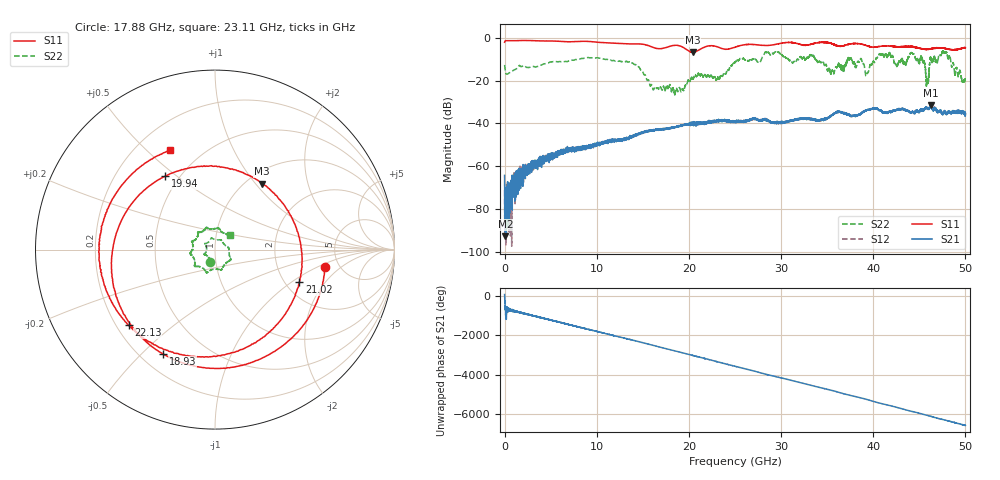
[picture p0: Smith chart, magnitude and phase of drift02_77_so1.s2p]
!Created with skrf (http://scikit-rf.org).
# Hz S RI R 50.0
!freq ReS11 ImS11 ReS21 ImS21 ReS12 ImS12 ReS22 ImS22
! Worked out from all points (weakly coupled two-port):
!   10001 points, 300 kHz to 50 GHz, reference 50 ohm
!   highest |S21| = -31.43 dB at 46.22 GHz (marker M1); lowest = -92.5 dB at 95.3 MHz (marker M2)
!   lowest |S11| = -6.9 dB at 20.44 GHz (marker M3), VSWR 2.64, Z = 58.5 + j53.9 ohm
!   |S11| at or under -10 dB: nowhere
!   |S22| runs from -26.7 to -6.1 dB; largest |S21 - S12| = 0.0031
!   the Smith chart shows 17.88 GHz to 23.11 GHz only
!   S11 on the Smith chart (normalised r, x): 17.88 GHz: 3.85, -1.24; 18.93 GHz: 0.29, -0.58; 19.94 GHz: 0.42, +0.45; 21.02 GHz: 2.38, -1.15; 22.13 GHz: 0.25, -0.35; 23.11 GHz: 0.34, +0.59
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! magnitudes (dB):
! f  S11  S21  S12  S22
! 300 kHz  -2.1  -64.1  -71.3  -12.7
! 95.3 MHz  -1.5  -92.5  -73.9  -16.2
! 3.065 GHz  -1.4  -61.2  -58.3  -13.5
! 8.335 GHz  -1.7  -52.4  -51.2  -9.7
! 13.7 GHz  -2.9  -46.0  -46.1  -11.7
! 16.67 GHz  -5.2  -42.7  -42.8  -23.7
! 17.88 GHz  -4.1  -42.2  -42.2  -22.5
! 18.93 GHz  -3.7  -41.3  -41.2  -23.5
! 19.94 GHz  -6.1  -40.5  -40.3  -19.7
! 20.44 GHz  -6.9  -40.8  -39.5  -19.2
! 21.02 GHz  -6.0  -39.9  -40.0  -16.7
! 22.13 GHz  -3.9  -39.7  -39.4  -17.8
! 23.11 GHz  -4.3  -38.5  -38.7  -18.7
! 25 GHz  -4.5  -39.3  -39.2  -11.6
! 33.34 GHz  -3.0  -37.7  -38.0  -8.3
! 39.33 GHz  -3.8  -33.8  -33.7  -16.7
! 41.67 GHz  -3.9  -34.7  -34.7  -7.7
! 44.27 GHz  -4.3  -34.3  -34.6  -7.4
! 45.85 GHz  -5.4  -33.2  -32.7  -19.4
! 46.22 GHz  -5.1  -31.4  -31.8  -9.7
! 47.75 GHz  -5.0  -33.9  -34.1  -6.9
! 50 GHz  -4.8  -35.3  -35.3  -18.6
